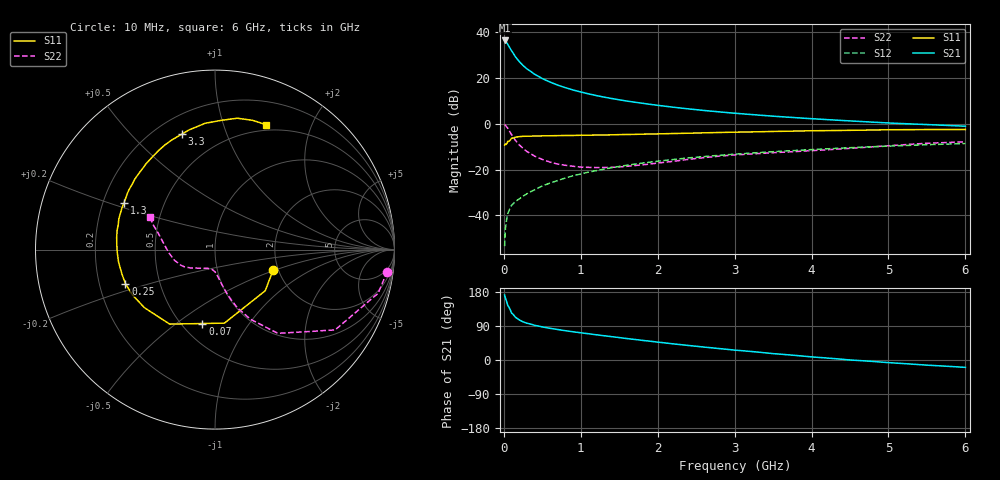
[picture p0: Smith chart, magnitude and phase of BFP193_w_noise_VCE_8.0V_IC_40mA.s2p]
! Infineon Technologies  Discrete & RF Semiconductors
! BFP193
! VCE =  8.0 V,  IC =  40 mA
! Common Emitter S-Parameters:  Jan 2017
# GHz  S  MA  R  50
!  f  S11  S21  S12  S22
! GHz  MAG  ANG  MAG  ANG  MAG  ANG  MAG  ANG
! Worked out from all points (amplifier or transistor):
!   77 points, 10 MHz to 6 GHz, reference 50 ohm
!   highest |S21| = 36.5 dB at 10 MHz (marker M1)
!   |S21| within 3 dB of that: start of sweep to 73.84 MHz
!   unconditionally stable (mu >= 1): 652.7 MHz to 2.4 GHz
!   at 130 MHz: K = 0.53, MSG = 32.6 dB, |S12| = -34.7 dB
!   at 2.2 GHz: K = 1.01, MAG = 10.8 dB, |S12| = -15.6 dB
!   at 6 GHz: K = 0.91, MSG = 3.8 dB, |S12| = -8.6 dB
!   lowest NFmin = 1.38 dB at 450 MHz
!   S11 on the Smith chart (normalised r, x): 10 MHz: 1.87, -0.49; 70 MHz: 0.63, -0.63; 250 MHz: 0.31, -0.17; 1.3 GHz: 0.29, +0.22; 3.3 GHz: 0.30, +0.71; 6 GHz: 0.44, +1.40
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0.01  0.343 -19.8  66.85 171.5  0.0021 81.8  0.9671 -7.3
0.02  0.3619 -39.3  65.89 164.1  0.005 88.7  0.9407 -15.0
0.05  0.413 -82.7  55.53 144.6  0.0107 69.2  0.8048 -33.8
0.07  0.4177 -99.6  48.58 138.0  0.0129 65.0  0.7072 -40.1
0.1  0.4859 -121.3  39.85 124.2  0.0164 60.8  0.5831 -53.1
0.15  0.5094 -140.6  29.49 112.9  0.02 56.8  0.4357 -63.0
0.2  0.5251 -151.5  23.12 105.9  0.0227 58.2  0.3472 -69.0
0.25  0.5335 -159.2  18.91 100.7  0.0261 59.0  0.2894 -72.4
0.3  0.5358 -164.6  15.94 97.1  0.0295 60.8  0.2475 -75.2
0.4  0.5419 -172.6  12.17 91.5  0.0361 64.0  0.196 -79.0
0.5  0.545 -178.6  9.791 87.2  0.0435 65.1  0.1663 -82.1
0.6  0.5483 176.7  8.213 83.6  0.0507 65.6  0.1455 -84.9
0.7  0.552 172.9  7.058 80.5  0.0574 66.4  0.1313 -87.4
0.9  0.5565 165.5  5.506 74.5  0.0729 66.6  0.1179 -93.4
1.1  0.5646 159.0  4.537 69.3  0.0879 65.1  0.1115 -99.6
1.3  0.57 152.8  3.853 64.1  0.1017 63.5  0.1107 -106.4
2.1  0.6075 131.0  2.426 45.0  0.1588 54.8  0.1446 -134.6
3.1  0.6607 109.4  1.656 24.5  0.2222 42.8  0.2134 -157.6
3.3  0.67 105.8  1.56 20.9  0.2337 40.5  0.223 -161.6
4.1  0.708 93.0  1.267 6.7  0.2784 31.3  0.2645 -178.9
5.1  0.7432 79.1  1.027 -8.2  0.3302 19.9  0.34 162.2
6  0.7519 67.8  0.887 -19.5  0.3709 9.8  0.4037 153.2
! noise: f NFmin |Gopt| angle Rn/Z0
0.45  1.38  0.38  -172  0.08
0.9  1.43  0.41  -167  0.08
1.9  2.05  0.59  -135  0.2
2.4  2.37  0.63  -120  0.42
